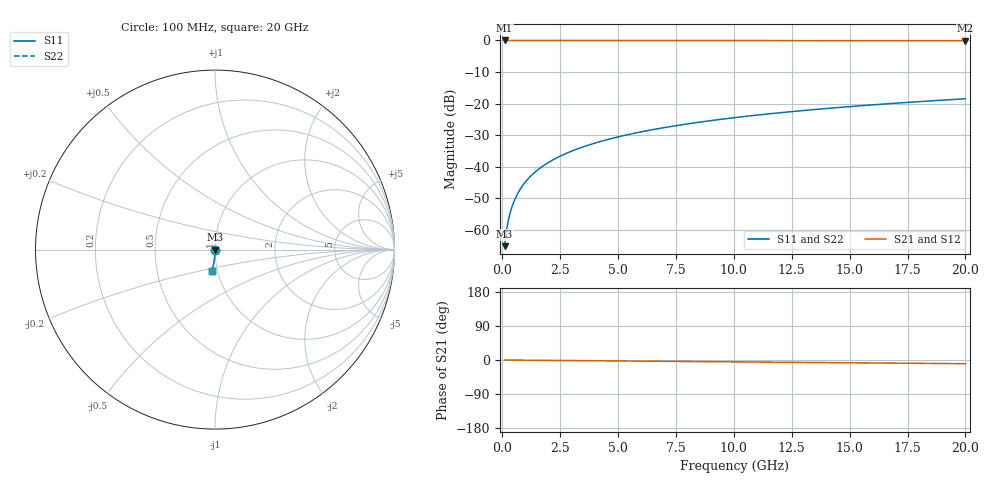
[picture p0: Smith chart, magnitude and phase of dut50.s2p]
! Touchstone file exported from HFSS 2026.1.0
!  File:  C:/ffzhzh/LocalFiles/Ansys_Project_Files/temp_train_TSV_50_1782958776_45568.aedt
!  Generated:  10:20:55 AM Jul  2, 2026
!  Design:  TSV
!  Project:  temp_train_TSV_50_1782958776_45568
! Variables:
!  h_bsmrdl = 2um
!  h_ox = 20um
!  h_rdl = 5um
!  h_sub = 75.22um
!  h_tmrdl = 5um
!  h_tsv = 75.22um
!  h_via = 3um
!  l_bsmrdl = 300um
!  l_sub = 422.16um
!  l_tmrdl = 200um
!  m_sub = 200um
!  pitch = 25.57um
!  r_tsv = 11.08um
!  s_tmrdl = 10um
!  w_bsmrdl = 18um
!  w_sub = 500um
!  w_tmrdl = 12um
!  x_tsv_center1 = 206um
!  x_tsv_center2 = 524um
!  x_tsv_center3 = 736um
!  x_tsv_center4 = 1054um
!  x_tsv_center5 = 1266um
!  x_tsv_center6 = 1584um
# GHz S MA R 50.000000
! Terminal data exported
! Port[1] = TSV1_1_T1
! Port[2] = TSV1_1_T2
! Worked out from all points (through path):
!   200 points, 100 MHz to 20 GHz, reference 50 ohm
!   highest |S21| = 0.00 dB at 100 MHz (marker M1); lowest = -0.1 dB at 20 GHz (marker M2)
!   group delay of S21, straight-line fit = 1.35 ps
!   lowest |S11| = -65.2 dB at 100 MHz (marker M3), VSWR 1.00, Z = 50 - j0.0536 ohm
!   |S11| at or under -10 dB: start of sweep to end of sweep
!   |S22| runs from -65.2 to -18.5 dB; largest |S21 - S12| = 2.4e-15
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0.1  0.0005502 -77.0  0.9999 -0.1  0.9999 -0.1  0.0005502 -77.0
! Gamma 0 0 0 0
! Port Impedance 50 0 50 0
0.2  0.001089 -82.3  0.9999 -0.1  0.9999 -0.1  0.001089 -82.3
0.3  0.001642 -83.9  0.9998 -0.2  0.9998 -0.2  0.001642 -83.9
0.4  0.002209 -84.6  0.9998 -0.2  0.9998 -0.2  0.002209 -84.6
0.5  0.002785 -85.0  0.9997 -0.3  0.9997 -0.3  0.002785 -85.0
0.7  0.00396 -85.8  0.9997 -0.4  0.9997 -0.4  0.00396 -85.8
0.8  0.004552 -86.1  0.9996 -0.4  0.9996 -0.4  0.004552 -86.1
1  0.005743 -86.6  0.9996 -0.5  0.9996 -0.5  0.005743 -86.6
1.2  0.006937 -87.1  0.9996 -0.6  0.9996 -0.6  0.006937 -87.1
1.4  0.00813 -87.5  0.9995 -0.7  0.9995 -0.7  0.00813 -87.5
1.7  0.00992 -88.0  0.9995 -0.9  0.9995 -0.9  0.00992 -88.0
2  0.01171 -88.5  0.9994 -1.0  0.9994 -1.0  0.01171 -88.5
2.7  0.01588 -89.2  0.9993 -1.3  0.9993 -1.3  0.01588 -89.2
3.5  0.02066 -89.9  0.9991 -1.7  0.9991 -1.7  0.02066 -89.9
4.2  0.02485 -90.4  0.999 -2.1  0.999 -2.1  0.02485 -90.4
5  0.02964 -90.9  0.9987 -2.5  0.9987 -2.5  0.02964 -90.9
6.8  0.04044 -92.0  0.9982 -3.4  0.9982 -3.4  0.04044 -92.0
8.3  0.04945 -92.8  0.9977 -4.1  0.9977 -4.1  0.04945 -92.8
10.1  0.06025 -93.8  0.997 -5.0  0.997 -5.0  0.06025 -93.8
13.4  0.07999 -95.6  0.9954 -6.6  0.9954 -6.6  0.07999 -95.6
16.7  0.09962 -97.3  0.9935 -8.2  0.9935 -8.2  0.09962 -97.3
20  0.1191 -98.9  0.9912 -9.8  0.9912 -9.8  0.1191 -98.9
